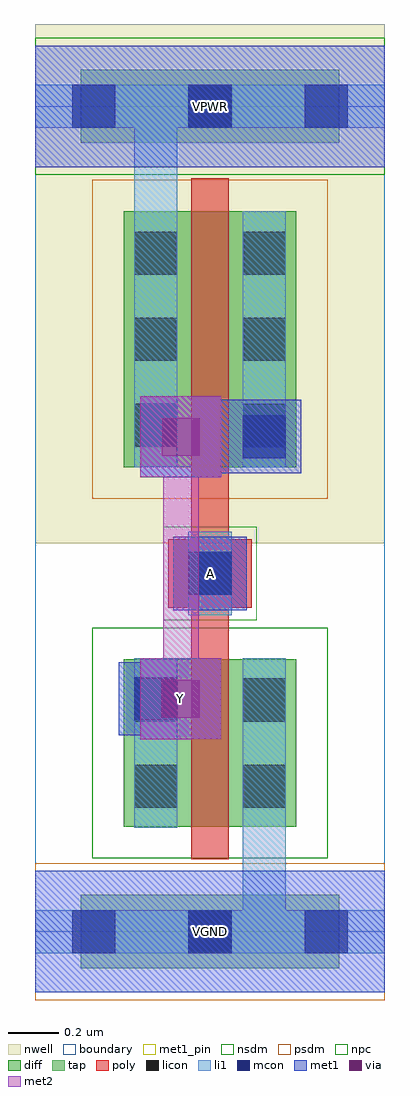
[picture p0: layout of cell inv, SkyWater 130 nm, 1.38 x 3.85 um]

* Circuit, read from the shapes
.subckt inv A VGND VPWR Y
XM1 VGND A Y VGND sky130_fd_pr__nfet_01v8 w=0.66 l=0.15
XM2 Y A VPWR VPWR sky130_fd_pr__pfet_01v8 w=1.01 l=0.15
.ends

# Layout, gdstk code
import gdstk
lib = gdstk.Library(unit=1e-6, precision=1e-09)
def R(c, l, rs):  # rectangles x0, y0, x1, y1
    for r in rs: c.add(gdstk.rectangle(r[:2], r[2:], *l))
def A(c, l, x, y, w, h, nx, ny, dx, dy):  # array of equal rectangles
    R(c, l, [(x+i*dx, y+j*dy, x+i*dx+w, y+j*dy+h) for i in range(nx) for j in range(ny)])
nwell = (64, 20)
diff = (65, 20)
tap = (65, 44)
poly = (66, 20)
licon = (66, 44)
li1 = (67, 20)
mcon = (67, 44)
met1_pin = (68, 16)
met1 = (68, 20)
via = (68, 44)
met2 = (69, 20)
nsdm = (93, 44)
psdm = (94, 20)
npc = (95, 20)
boundary = (235, 4)

inv = lib.new_cell('inv')
R(inv, nwell, [(0,1.535,1.38,3.585)])
R(inv, diff, [(0.35,0.415,1.03,1.075), (0.35,1.835,1.03,2.845)])
R(inv, tap, [(0.18,-0.145,1.2,0.145), (0.18,3.115,1.2,3.405)])
R(inv, poly, [(0.615,0.285,0.765,2.975), (0.525,1.28,0.855,1.55)])
A(inv, licon, 0.39, 1.915, 0.17, 0.17, 1, 3, 0, 0.34)
A(inv, licon, 0.82, 1.915, 0.17, 0.17, 1, 3, 0, 0.34)
R(inv, licon, [(0.605,-0.085,0.775,0.085), (0.39,0.49,0.56,0.66), (0.82,0.49,0.99,0.66), (0.39,0.83,0.56,1), (0.82,0.83,0.99,1), (0.605,1.33,0.775,1.5), (0.605,3.175,0.775,3.345)])
R(inv, li1, [(0,-0.085,1.38,0.085), (0.82,-0.085,0.99,1.08), (0.39,0.41,0.56,1.08), (0.82,0.41,0.99,1.08), (0.605,1.25,0.775,1.58), (0.39,1.835,0.56,2.845), (0.39,1.835,0.56,3.345), (0.82,1.835,0.99,2.845), (0,3.175,1.38,3.345)])
A(inv, mcon, 0.145, -0.085, 0.17, 0.17, 3, 2, 0.46, 3.26)
R(inv, mcon, [(0.39,0.835,0.56,1.005), (0.605,1.33,0.775,1.5), (0.82,1.87,0.99,2.04)])
R(inv, met1_pin, [(0,-0.24,1.38,0.24), (0.415,0.76,0.735,1.08), (0.545,1.27,0.835,1.56), (0,3.02,1.38,3.5)])
R(inv, met1, [(0,-0.24,1.38,0.24), (0.415,0.76,0.735,1.08), (0.33,0.775,0.62,1.065), (0.405,0.85,0.645,0.99), (0.545,1.27,0.835,1.56), (0.415,1.795,0.735,2.115), (0.735,1.81,0.76,2.1), (0.76,1.81,1.05,2.1), (0.505,1.885,0.875,2.025), (0.735,1.885,0.975,2.025), (0,3.02,1.38,3.5)])
R(inv, via, [(0.5,0.845,0.65,0.995), (0.5,1.88,0.65,2.03)])
R(inv, met2, [(0.415,0.76,0.735,1.08), (0.505,0.85,0.645,2.025), (0.415,1.795,0.735,2.115)])
R(inv, nsdm, [(0.225,0.29,1.155,1.2), (0,2.99,1.38,3.53)])
R(inv, psdm, [(0,-0.27,1.38,0.27), (0.225,1.71,1.155,2.97)])
R(inv, npc, [(0.505,1.23,0.875,1.6)])
R(inv, boundary, [(0,0,1.38,3.26)])
inv.add(gdstk.Label('A', (0.69,1.415), layer=68, texttype=5))
inv.add(gdstk.Label('Y', (0.575,0.92), layer=68, texttype=5))
inv.add(gdstk.Label('VPWR', (0.69,3.26), layer=68, texttype=5))
inv.add(gdstk.Label('VGND', (0.69,0), layer=68, texttype=5))
inv.add(gdstk.Label('A', (0.69,1.415), layer=68, texttype=16))
inv.add(gdstk.Label('Y', (0.575,0.92), layer=68, texttype=16))
inv.add(gdstk.Label('VPWR', (0.69,3.26), layer=68, texttype=16))
inv.add(gdstk.Label('VGND', (0.69,0), layer=68, texttype=16))

lib.write_gds('inv.gds')
